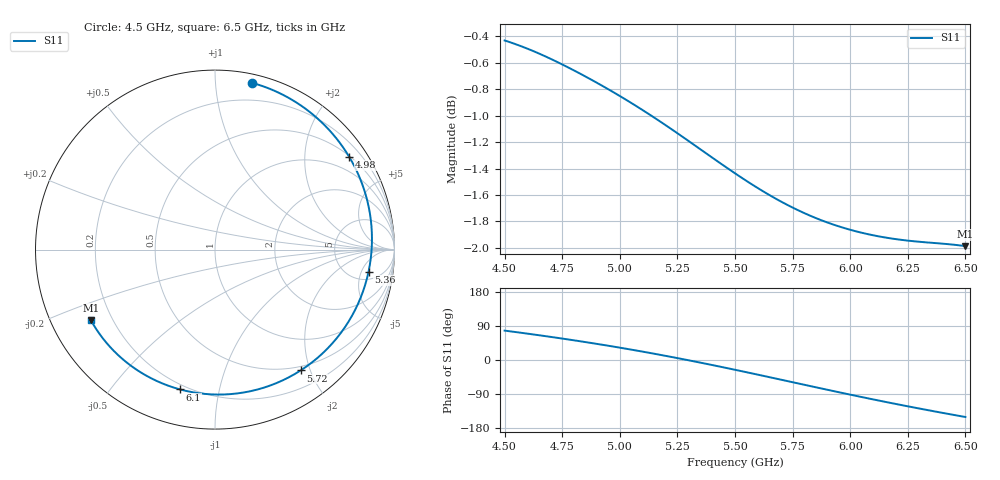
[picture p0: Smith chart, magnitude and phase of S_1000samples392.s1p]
! TOUCHSTONE file generated by CST MICROWAVE STUDIO
! Date and time: Fri Oct 28 00:26:32 2022
! Project name: L.cst
! Parameters = {Di=1.27; Epsilon_r=1.56; InnerDiameter=1.27; Length=2; Lf=10; Lg=60; OuterConductorThickness=0.2921; OuterDiameter=3.6; Wf=3; Wp=41.2; de=1.5; df=6.8; g=0.8; gx=2.5067; gy=1.33594; h=2.34; hf=1.524; px=8.02769; py=9.06815; w=9.7; wx=5.52098; wy=7.73221}
! Header version: 2018
! Port assignment regex: !\s*Touchstone port\s*([0-9]+)\s*=\s*(CST MWS port|CST DS port)\s*([0-9]+|Zmin|Zmax)\s*\(\"(.*)\"\)(\s*mode\s*([0-9]+))?.*
! Touchstone port assignment:
! Touchstone port 1 = CST MWS port 1 ("")
# GHz S DB R 50
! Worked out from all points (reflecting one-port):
!   101 points, 4.5 GHz to 6.5 GHz, reference 50 ohm
!   lowest |S11| = -2.0 dB at 6.5 GHz (marker M1), VSWR 8.78, Z = 6.09 - j13 ohm
!   phase of S11 starts at 78 deg and turns -228 deg over the sweep
!   S11 on the Smith chart (normalised r, x): 4.5 GHz: 0.06, +1.24; 4.98 GHz: 0.53, +3.13; 5.36 GHz: 7.01, -6.83; 5.72 GHz: 0.44, -1.85; 6.1 GHz: 0.17, -0.77; 6.5 GHz: 0.12, -0.26
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4.5  -0.43 77.6
4.58  -0.48 71.1
4.64  -0.52 66.1
4.76  -0.62 55.7
4.86  -0.71 46.4
4.98  -0.83 34.6
5  -0.85 32.6
5.08  -0.94 24.1
5.14  -1.00 17.6
5.2  -1.07 10.8
5.26  -1.14 3.8
5.36  -1.27 -8.2
5.42  -1.34 -15.7
5.5  -1.44 -25.8
5.6  -1.55 -38.8
5.66  -1.61 -46.7
5.72  -1.67 -54.6
5.76  -1.70 -60.0
5.82  -1.75 -67.9
5.88  -1.79 -75.8
5.94  -1.83 -83.6
6  -1.86 -91.4
6.1  -1.91 -104.0
6.18  -1.93 -113.8
6.26  -1.95 -123.4
6.38  -1.97 -137.2
6.44  -1.98 -143.8
6.5  -1.99 -150.4
